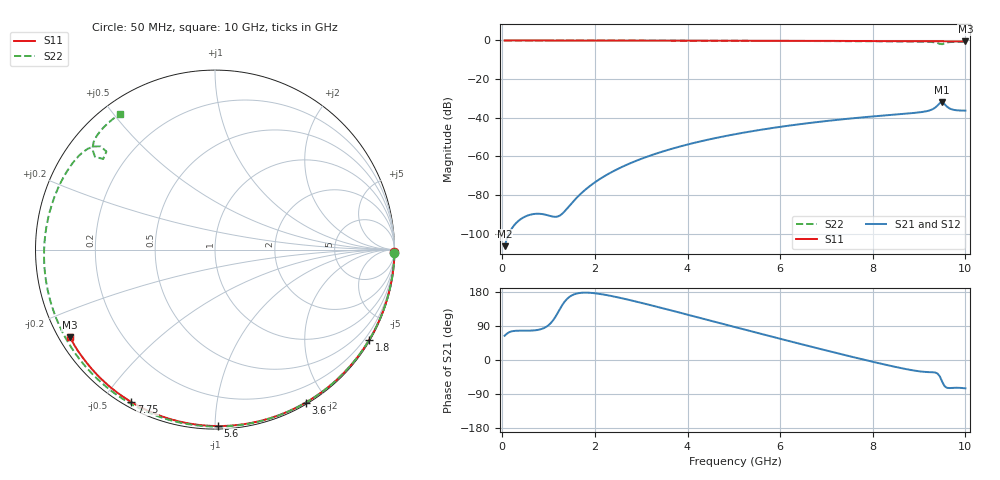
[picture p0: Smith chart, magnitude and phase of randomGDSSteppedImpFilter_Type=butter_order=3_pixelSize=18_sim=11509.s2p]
! freq	dB(S11)	phase(S11)	dB(S12)	phase(S12)
!  dB(S21)	phase(S21)	dB(S22)	phase(S22)
!S-par simulation data
#  GHz  S  DB  R 50
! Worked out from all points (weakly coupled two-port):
!   200 points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, 50 MHz to 10 GHz, reference 50 ohm
!   highest |S21| = -31.99 dB at 9.5 GHz (marker M1); lowest = -106.4 dB at 50 MHz (marker M2)
!   lowest |S11| = -0.5 dB at 10 GHz (marker M3), VSWR 34.73, Z = 1.55 - j13.9 ohm
!   |S11| at or under -10 dB: nowhere
!   |S22| runs from -1.9 to 0.0 dB; largest |S21 - S12| = 0
!   S11 on the Smith chart (normalised r, x): 50 MHz: open; 1.8 GHz: 0.03, -3.68; 3.6 GHz: 0.02, -1.76; 5.6 GHz: 0.02, -1.02; 7.75 GHz: 0.02, -0.59; 10 GHz: 0.03, -0.28
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0.05  -0.00 -0.9  -106.41 63.9  -106.41 63.9  -0.00 -1.2
0.8  -0.02 -13.7  -89.65 80.3  -89.65 80.3  -0.02 -19.6
1.65  -0.04 -27.9  -80.31 176.5  -80.31 176.5  -0.05 -39.9
1.75  -0.04 -29.6  -78.08 177.7  -78.08 177.7  -0.05 -42.2
1.8  -0.04 -30.4  -77.04 177.8  -77.04 177.8  -0.06 -43.4
2.1  -0.04 -35.3  -71.77 174.5  -71.77 174.5  -0.06 -50.4
2.45  -0.05 -41.0  -66.99 166.5  -66.99 166.5  -0.07 -58.5
3.4  -0.07 -56.2  -57.92 138.6  -57.92 138.6  -0.11 -79.9
3.6  -0.08 -59.3  -56.45 132.3  -56.45 132.3  -0.11 -84.3
4.3  -0.10 -70.0  -52.09 110.1  -52.09 110.1  -0.14 -99.5
5.05  -0.12 -81.2  -48.38 86.1  -48.38 86.1  -0.18 -115.5
5.6  -0.15 -89.1  -46.13 68.6  -46.13 68.6  -0.21 -127.3
6.7  -0.20 -104.5  -42.49 34.2  -42.49 34.2  -0.30 -151.0
7.75  -0.28 -118.8  -39.84 2.5  -39.84 2.5  -0.40 -175.1
8.35  -0.33 -126.8  -38.59 -14.5  -38.59 -14.5  -0.48 169.9
8.85  -0.37 -133.4  -37.58 -27.0  -37.58 -27.0  -0.56 156.3
9.2  -0.41 -138.1  -36.37 -32.0  -36.37 -32.0  -0.72 145.3
9.4  -0.43 -140.7  -33.60 -35.8  -33.60 -35.8  -1.32 137.9
9.5  -0.44 -142.0  -31.99 -57.6  -31.99 -57.6  -1.92 141.0
9.6  -0.45 -143.4  -34.19 -73.3  -34.19 -73.3  -1.07 140.7
9.7  -0.46 -144.8  -35.59 -73.8  -35.59 -73.8  -0.79 136.2
10  -0.50 -148.8  -36.29 -74.7  -36.29 -74.7  -0.69 125.1
